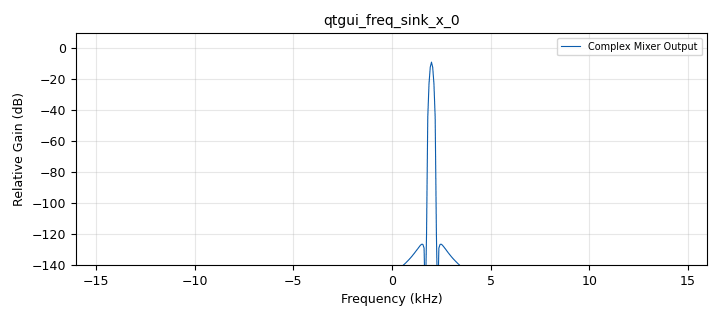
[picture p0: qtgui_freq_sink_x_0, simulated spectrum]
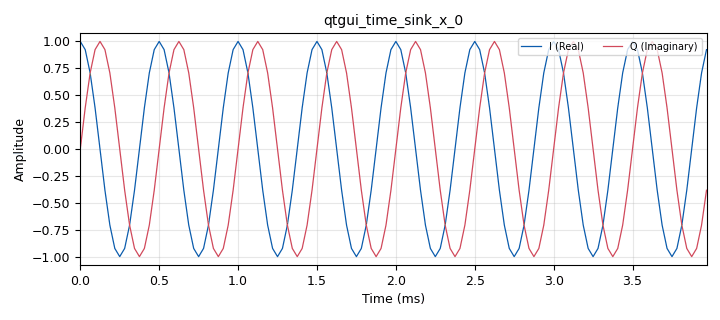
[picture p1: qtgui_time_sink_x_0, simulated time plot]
options:
  parameters:
    author: Dhrubjun
    generate_options: qt_gui
    id: exp4
    output_language: python
    title: 'Complex Mixing: Reversing the LO'
  states: {}

blocks:
- name: lo_direction
  id: variable_qtgui_chooser
  parameters:
    label: LO Direction
    label0: Downshift
    label1: Upshift
    num_opts: '2'
    option0: '-1'
    option1: '1'
    orient: Qt.QHBoxLayout
    type: int
    value: '-1'
    widget: radio_buttons
  states: {}
- name: lo_freq
  id: variable_qtgui_range
  parameters:
    label: LO Frequency
    start: '1000'
    step: '500'
    stop: '7000'
    value: '4000'
  states: {}
- name: samp_rate
  id: variable
  parameters:
    value: '32000'
  states: {}
- name: analog_sig_source_x_0
  id: analog_sig_source_x
  parameters:
    amp: '1'
    freq: '6000'
    offset: '0'
    phase: '0'
    samp_rate: samp_rate
    type: complex
    waveform: analog.GR_COS_WAVE
  states: {}
- name: analog_sig_source_x_0_0
  id: analog_sig_source_x
  parameters:
    amp: '1'
    freq: lo_direction * lo_freq
    offset: '0'
    phase: '0'
    samp_rate: samp_rate
    type: complex
    waveform: analog.GR_COS_WAVE
  states: {}
- name: blocks_multiply_xx_0
  id: blocks_multiply_xx
  parameters:
    type: complex
  states: {}
- name: blocks_throttle2_0
  id: blocks_throttle2
  parameters:
    samples_per_second: samp_rate
    type: complex
  states: {}
- name: qtgui_freq_sink_x_0
  id: qtgui_freq_sink_x
  parameters:
    bw: samp_rate
    color1: '"red"'
    fc: '0'
    fftsize: '512'
    grid: 'True'
    label1: Complex Mixer Output
    type: complex
  states: {}
- name: qtgui_time_sink_x_0
  id: qtgui_time_sink_x
  parameters:
    grid: 'True'
    label1: I (Real)
    label2: Q (Imaginary)
    size: '128'
    srate: samp_rate
    type: complex
  states: {}

connections:
- [analog_sig_source_x_0, '0', blocks_multiply_xx_0, '0']
- [analog_sig_source_x_0_0, '0', blocks_multiply_xx_0, '1']
- [blocks_multiply_xx_0, '0', blocks_throttle2_0, '0']
- [blocks_throttle2_0, '0', qtgui_freq_sink_x_0, '0']
- [blocks_throttle2_0, '0', qtgui_time_sink_x_0, '0']

metadata:
  file_format: 1
  grc_version: 3.10.12.0
